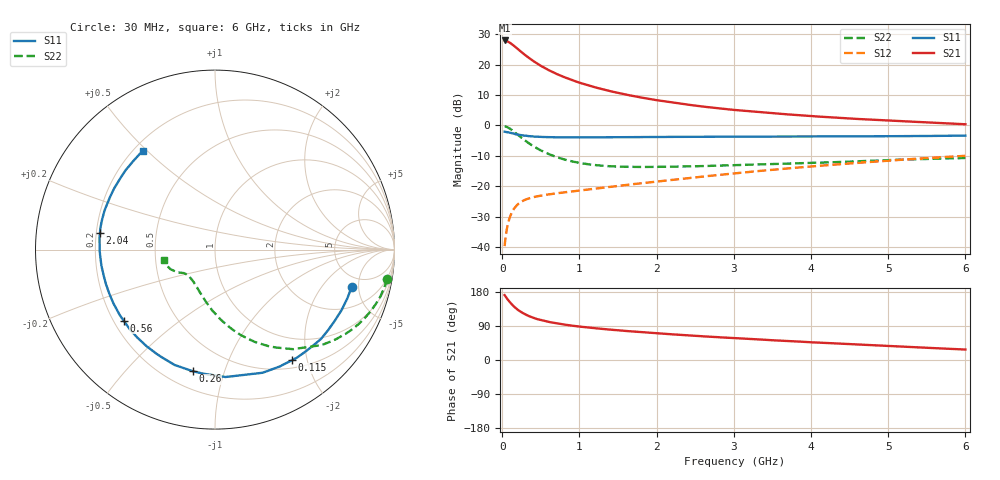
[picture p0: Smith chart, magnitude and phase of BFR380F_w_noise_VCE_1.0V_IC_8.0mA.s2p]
! Infineon Technologies  Discrete & RF Semiconductors
! BFR380F
! VCE =  1.0 V,  IC =  8.0 mA
! Common Emitter S-Parameters:  Nov 2015
# GHz  S  MA  R  50
!  f  S11  S21  S12  S22
! GHz  MAG  ANG  MAG  ANG  MAG  ANG  MAG  ANG
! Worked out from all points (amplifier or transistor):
!   206 points, 30 MHz to 6 GHz, reference 50 ohm
!   highest |S21| = 27.9 dB at 30 MHz (marker M1)
!   |S21| within 3 dB of that: start of sweep to 209.8 MHz
!   unconditionally stable (mu >= 1): 1.782 GHz to end of sweep
!   at 200 MHz: K = 0.20, MSG = 25.5 dB, |S12| = -25.9 dB
!   at 1.56 GHz: K = 0.95, MSG = 15.0 dB, |S12| = -19.7 dB
!   at 6 GHz: K = 1.01, MAG = 4.7 dB, |S12| = -10.0 dB
!   lowest NFmin = 0.82 dB at 450 MHz
!   S11 on the Smith chart (normalised r, x): 30 MHz: 3.76, -4.16; 115 MHz: 0.62, -1.75; 260 MHz: 0.31, -0.79; 560 MHz: 0.24, -0.33; 2.04 GHz: 0.21, +0.07; 6 GHz: 0.24, +0.48
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0.03  0.7896 -15.3  24.93 171.1  0.0104 82.8  0.9745 -9.6
0.05  0.7815 -25.6  24.68 164.9  0.017 78.2  0.9578 -15.8
0.07  0.7735 -35.5  24.02 159.6  0.0233 73.6  0.9318 -21.8
0.1  0.7589 -48.9  22.78 152.2  0.0316 67.4  0.8844 -30.1
0.115  0.7511 -55.1  22.07 148.8  0.0352 64.6  0.8575 -33.9
0.15  0.7355 -68.9  20.44 141.3  0.0427 58.9  0.7944 -42.1
0.2  0.7123 -85.3  18.07 132.5  0.0506 52.6  0.705 -51.9
0.26  0.6888 -100.4  15.64 124.6  0.0571 47.3  0.6131 -61.2
0.3  0.6809 -109.3  14.23 119.9  0.0605 44.7  0.5599 -66.7
0.34  0.6691 -116.3  13.02 116.3  0.0631 42.8  0.5152 -71.2
0.4  0.6596 -125.4  11.48 111.4  0.0663 40.9  0.459 -77.3
0.5  0.6498 -137.0  9.541 105.2  0.0704 39.1  0.3885 -85.7
0.56  0.6446 -142.1  8.682 102.6  0.0724 38.8  0.3582 -89.6
0.78  0.638 -156.4  6.396 94.2  0.0789 39.4  0.2817 -102.5
1.04  0.6368 -166.8  4.868 87.4  0.0865 41.9  0.238 -113.8
1.4  0.6405 -176.7  3.654 80.1  0.0982 45.9  0.2137 -125.4
2.02  0.6474 172.2  2.582 70.2  0.121 51.3  0.209 -136.4
2.04  0.6476 171.9  2.56 70.0  0.1218 51.5  0.2091 -136.7
3.1  0.6525 159.1  1.758 56.8  0.1677 56.2  0.2245 -144.8
4.1  0.6574 147.7  1.4 45.9  0.2171 56.6  0.2442 -149.1
5.1  0.6668 137.1  1.188 36.2  0.2694 54.8  0.2724 -157.1
6  0.6819 126.3  1.047 27.6  0.3171 51.2  0.2922 -168.9
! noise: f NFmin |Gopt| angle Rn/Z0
0.45  0.82  0.13  62  0.11
0.9  0.83  0.2  115  0.09
1.8  1.14  0.34  160  0.08
1.9  1.23  0.35  162  0.07
2.4  1.38  0.38  177  0.08
3.5  2.04  0.48  -161  0.11
